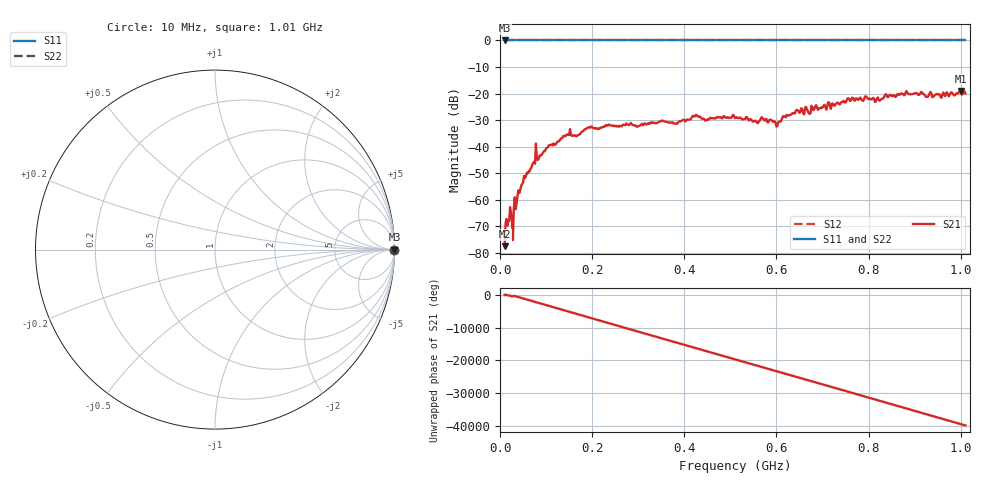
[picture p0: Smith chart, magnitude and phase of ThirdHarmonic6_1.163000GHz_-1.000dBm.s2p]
! 8/16/2025 11:41:25 AM
! C:\ANRITSUVNA\TEMP\TEMP.S2P
! CHANNEL.1
! TR.MEASUREMENT
! RAW.DATA
! RF.CORRECTION.OFF
! AVERAGING.OFF
! IF.BANDWIDTH: 5KHZ
! SWEEPTYPE:  FREQ.SWEEP(Linear)
! Reference Plane Port Info
! PORT:  PORT1  PORT2
! DISTANCE:  0  m  0  m
! TIME:  0  s  0  s
! PHASE.OFFSET:  0  deg.  0  deg.
! LOSS:  0  dB  0  dB
! REF.LOSS:  0  dB  0  dB
! REF.FREQ:  0  Hz  0  Hz
! Power Info
! POWER:  -20  dBm  -20  dBm
! EFF.POWER:  -20  dBm  -20  dBm
! SOURCE.ATTEN:  0  dB  0  dB
! TEST.ATTEN:  0  dB  0  dB
# GHZ S RI R 50.0
! FREQ.GHZ  S11RE  S11IM  S21RE  S21IM  S12RE  S12IM  S22RE  S22IM
!; PortSelection: Port_12
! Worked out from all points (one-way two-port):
!   501 points, 10 MHz to 1.01 GHz, reference 50 ohm
!   highest |S21| = -19.06 dB at 1 GHz (marker M1); lowest = -77.5 dB at 10 MHz (marker M2)
!   lowest |S11| = 0.0 dB at 10 MHz (marker M3)
!   |S11| at or under -10 dB: nowhere
!   |S22| runs from 0.0 to 0.0 dB; largest |S21 - S12| = 1.1
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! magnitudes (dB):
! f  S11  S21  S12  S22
! 10 MHz  0.0  -77.5  0.0  0.0
! 18 MHz  0.0  -67.9  0.0  0.0
! 24 MHz  0.0  -65.1  0.0  0.0
! 30 MHz  0.0  -63.2  0.0  0.0
! 34 MHz  0.0  -63.6  0.0  0.0
! 42 MHz  0.0  -57.5  0.0  0.0
! 74 MHz  0.0  -45.7  0.0  0.0
! 148 MHz  0.0  -35.5  0.0  0.0
! 178 MHz  0.0  -34.4  0.0  0.0
! 196 MHz  0.0  -32.9  0.0  0.0
! 344 MHz  0.0  -30.8  0.0  0.0
! 382 MHz  0.0  -31.3  0.0  0.0
! 422 MHz  0.0  -28.7  0.0  0.0
! 448 MHz  0.0  -30.0  0.0  0.0
! 510 MHz  0.0  -29.3  0.0  0.0
! 602 MHz  0.0  -32.1  0.0  0.0
! 644 MHz  0.0  -26.2  0.0  0.0
! 678 MHz  0.0  -25.2  0.0  0.0
! 760 MHz  0.0  -22.8  0.0  0.0
! 844 MHz  0.0  -20.9  0.0  0.0
! 1 GHz  0.0  -19.1  0.0  0.0
! 1.01 GHz  0.0  -20.0  0.0  0.0
